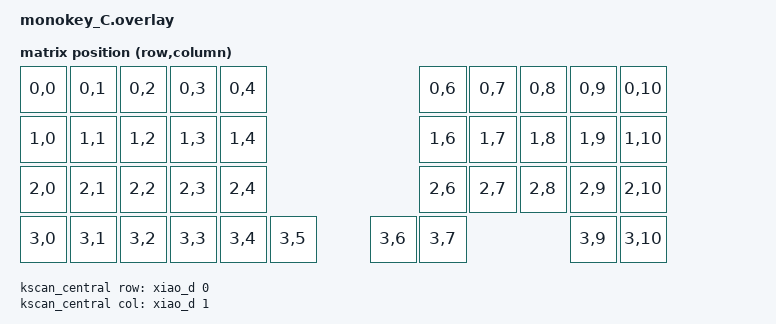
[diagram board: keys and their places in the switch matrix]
/ { 
    zmk,compat-check = "skip"; 
};

#include "monokey.dtsi"
#include <dt-bindings/zmk/matrix_transform.h>
#include <physical_layouts.dtsi>
#include <input/processors.dtsi>
#include <dt-bindings/zmk/input_transform.h>
#include <dt-bindings/pinctrl/nrf-pinctrl.h>

/ {
    chosen {
        zmk,physical-layout = &monokey_physical_layout;
        zmk,kscan = &kscan_central;
        zmk,backlight = &backlight;
    };

    monokey_physical_layout: monokey_physical_layout {
        compatible = "zmk,physical-layout";
        display-name = "Default";
        transform = <&default_transform>;
        kscan = <&kscan_central>;

        /* ZMK Studio 用のキー座標定義 */
        keys
            = <&key_physical_attrs 100 100    0    0       0     0     0>
            , <&key_physical_attrs 100 100  100    0       0     0     0>
            , <&key_physical_attrs 100 100  200    0       0     0     0>
            , <&key_physical_attrs 100 100  300    0       0     0     0>
            , <&key_physical_attrs 100 100  400    0       0     0     0>
            , <&key_physical_attrs 100 100  800    0       0     0     0>
            , <&key_physical_attrs 100 100  900    0       0     0     0>
            , <&key_physical_attrs 100 100 1000    0       0     0     0>
            , <&key_physical_attrs 100 100 1100    0       0     0     0>
            , <&key_physical_attrs 100 100 1200    0       0     0     0>
            , <&key_physical_attrs 100 100    0  100       0     0     0>
            , <&key_physical_attrs 100 100  100  100       0     0     0>
            , <&key_physical_attrs 100 100  200  100       0     0     0>
            , <&key_physical_attrs 100 100  300  100       0     0     0>
            , <&key_physical_attrs 100 100  400  100       0     0     0>
            , <&key_physical_attrs 100 100  800  100       0     0     0>
            , <&key_physical_attrs 100 100  900  100       0     0     0>
            , <&key_physical_attrs 100 100 1000  100       0     0     0>
            , <&key_physical_attrs 100 100 1100  100       0     0     0>
            , <&key_physical_attrs 100 100 1200  100       0     0     0>
            , <&key_physical_attrs 100 100    0  200       0     0     0>
            , <&key_physical_attrs 100 100  100  200       0     0     0>
            , <&key_physical_attrs 100 100  200  200       0     0     0>
            , <&key_physical_attrs 100 100  300  200       0     0     0>
            , <&key_physical_attrs 100 100  400  200       0     0     0>
            , <&key_physical_attrs 100 100  800  200       0     0     0>
            , <&key_physical_attrs 100 100  900  200       0     0     0>
            , <&key_physical_attrs 100 100 1000  200       0     0     0>
            , <&key_physical_attrs 100 100 1100  200       0     0     0>
            , <&key_physical_attrs 100 100 1200  200       0     0     0>
            , <&key_physical_attrs 100 100    0  300       0     0     0>
            , <&key_physical_attrs 100 100  100  300       0     0     0>
            , <&key_physical_attrs 100 100  200  300       0     0     0>
            , <&key_physical_attrs 100 100  300  300       0     0     0>
            , <&key_physical_attrs 100 100  400  300       0     0     0>
            , <&key_physical_attrs 100 100  500  300       0     0     0>
            , <&key_physical_attrs 100 100  700  300       0     0     0>
            , <&key_physical_attrs 100 100  800  300       0     0     0>
            , <&key_physical_attrs 100 100 1100  300       0     0     0>
            , <&key_physical_attrs 100 100 1200  300       0     0     0>
            ;
    };

    default_transform: keymap_transform_0 {
        compatible = "zmk,matrix-transform";
        columns = <11>;
        rows = <4>;               
        map = <
            RC(0,0) RC(0,1) RC(0,2) RC(0,3) RC(0,4)                     RC(0,6) RC(0,7) RC(0,8) RC(0,9) RC(0,10)
            RC(1,0) RC(1,1) RC(1,2) RC(1,3) RC(1,4)                     RC(1,6) RC(1,7) RC(1,8) RC(1,9) RC(1,10)
            RC(2,0) RC(2,1) RC(2,2) RC(2,3) RC(2,4)                     RC(2,6) RC(2,7) RC(2,8) RC(2,9) RC(2,10)
            RC(3,0) RC(3,1) RC(3,2) RC(3,3) RC(3,4) RC(3,5)     RC(3,6) RC(3,7)                 RC(3,9) RC(3,10)         
        >;
    };

    /* ドングル用のダミーkscan。実際のスキャンは左右からBLEで届く */
    kscan_central: kscan_central {
        compatible = "zmk,kscan-gpio-matrix";
        wakeup-source;
        diode-direction = "col2row";
        row-gpios = <&xiao_d 0 (GPIO_ACTIVE_HIGH | GPIO_PULL_DOWN)>;
        col-gpios = <&xiao_d 1 GPIO_ACTIVE_HIGH>;
    };

    chg_stat: chg_stat { status = "disabled"; };

    backlight: pwmleds {
        compatible = "pwm-leds";
        status = "okay";
        red_led_node { pwms = <&pwm0 0 10000000 PWM_POLARITY_INVERTED>; };
        green_led_node { pwms = <&pwm0 1 10000000 PWM_POLARITY_INVERTED>; };
    };

    split_inputs {
        compatible = "zmk,split-inputs";
        #address-cells = <1>;
        #size-cells = <0>;
        trackball_split: trackball@0 {
            compatible = "zmk,input-split";
            reg = <0>;
            status = "okay";
        };
    };

    trackball_listener {
        compatible = "zmk,input-listener";
        device = <&trackball_split>;
        input-processors = 
            <&zip_xy_transform (INPUT_TRANSFORM_XY_SWAP | INPUT_TRANSFORM_X_INVERT)>,
            <&zip_xy_scaler 2 1>,
            <&zip_temp_layer 4 5000>;
        
        scroll_layer {
            layers = <5>;
            input-processors = <&zip_xy_to_scroll_mapper>,
                               <&zip_scroll_transform (INPUT_TRANSFORM_XY_SWAP | INPUT_TRANSFORM_Y_INVERT)>,
                               <&zip_scroll_scaler 1 16>;
        };
    };
};

&xiao_serial { status = "disabled"; };

&pinctrl {
    pwm0_default: pwm0_default {
        group1 {
            psels = <NRF_PSEL(PWM_OUT0, 0, 26)>, <NRF_PSEL(PWM_OUT1, 0, 30)>;
            nordic,drive-mode = <NRF_DRIVE_S0S1>;
        };
    };
    pwm0_sleep: pwm0_sleep {
        group1 {
            psels = <NRF_PSEL(PWM_OUT0, 0, 26)>, <NRF_PSEL(PWM_OUT1, 0, 30)>;
            low-power-enable;
            nordic,drive-mode = <NRF_DRIVE_S0S1>;
        };
    };
};

&pwm0 {
    status = "okay";
    pinctrl-0 = <&pwm0_default>;
    pinctrl-1 = <&pwm0_sleep>;
    pinctrl-names = "default", "sleep";
};

&zip_temp_layer {
    excluded-positions = <17 18>;
    require-prior-idle-ms = <300>;
};
